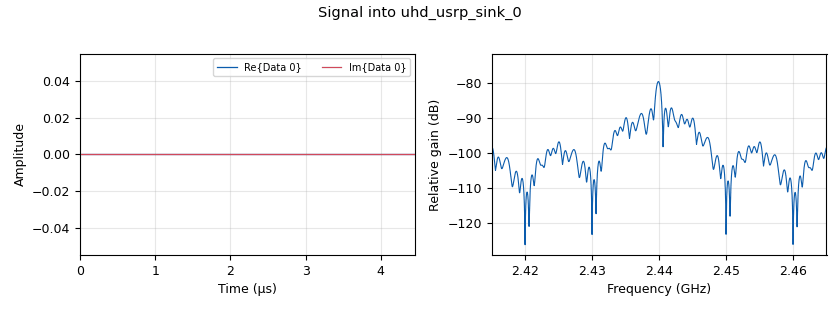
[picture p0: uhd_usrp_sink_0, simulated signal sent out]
options:
  parameters:
    author: Chris Wozny
    copyright: '2022'
    generate_options: qt_gui
    id: gr_pulsed_radar
    output_language: python
    title: Not titled yet
  states: {}

blocks:
- name: carrier_freq
  id: variable_qtgui_range
  parameters:
    start: 70e6
    step: 1e6
    stop: 6000e6
    value: 2440e6
  states: {}
- name: chip_width_samples
  id: variable
  parameters:
    value: (int)(chip_width_sec*samp_rate)
  states: {}
- name: chip_width_sec
  id: variable
  parameters:
    value: pw_sec/13
  states: {}
- name: pri_samples
  id: variable
  parameters:
    value: (int)(pri_sec*samp_rate)
  states: {}
- name: pri_sec
  id: variable
  parameters:
    value: '100e-6'
  states: {}
- name: pw_samples
  id: variable
  parameters:
    value: (int)(pw_sec*samp_rate)
  states: {}
- name: pw_sec
  id: variable
  parameters:
    value: '1.3e-6'
  states: {}
- name: rx_gain
  id: variable_qtgui_range
  parameters:
    start: '1'
    step: '1'
    stop: '70'
    value: '1'
  states: {}
- name: samp_rate
  id: variable
  parameters:
    value: 50e6
  states: {}
- name: tx_gain
  id: variable_qtgui_range
  parameters:
    start: '1'
    step: '1'
    stop: '70'
    value: '1'
  states: {}
- name: blocks_complex_to_magphase_0
  id: blocks_complex_to_magphase
  parameters: {}
  states: {state: disabled}
- name: blocks_complex_to_magphase_1
  id: blocks_complex_to_magphase
  parameters: {}
  states: {}
- name: blocks_float_to_complex_0
  id: blocks_float_to_complex
  parameters: {}
  states: {}
- name: blocks_null_sink_0
  id: blocks_null_sink
  parameters:
    type: float
  states: {}
- name: blocks_null_sink_1
  id: blocks_null_sink
  parameters:
    type: float
  states: {state: disabled}
- name: blocks_vector_source_x_1
  id: blocks_vector_source_x
  parameters:
    repeat: 'True'
    type: float
    vector: pw_samples*[1,]+pri_samples*[0,]
  states: {}
- name: blocks_vector_source_x_1_0
  id: blocks_vector_source_x
  parameters:
    repeat: 'True'
    type: float
    vector: 5*chip_width_samples*[1,]+2*chip_width_samples*[-1,]+2*chip_width_samples*[1,]+1*chip_width_samples*[-1,]+1*chip_width_samples*[1,]+1*chip_width_samples*[-1,]+1*chip_width_samples*[1,]+pri_samples*[0,]
  states: {}
- name: qtgui_freq_sink_x_0
  id: qtgui_freq_sink_x
  parameters:
    bw: samp_rate
    fc: carrier_freq
    fftsize: '1024'
    grid: 'True'
    type: complex
  states: {state: disabled}
- name: qtgui_time_sink_x_0
  id: qtgui_time_sink_x
  parameters:
    ctrlpanel: 'True'
    grid: 'True'
    nconnections: '2'
    size: '2000'
    srate: samp_rate
    tr_level: '0.5'
    tr_mode: qtgui.TRIG_MODE_AUTO
    type: float
    ymin: '0'
  states: {state: disabled}
- name: qtgui_time_sink_x_0_0
  id: qtgui_time_sink_x
  parameters:
    ctrlpanel: 'True'
    grid: 'True'
    size: int(pri_sec*samp_rate)
    srate: samp_rate
    tr_level: '0.5'
    tr_mode: qtgui.TRIG_MODE_AUTO
    type: float
    ymin: '0'
  states: {}
- name: uhd_usrp_sink_0
  id: uhd_usrp_sink
  parameters:
    ant0: '"TX/RX"'
    center_freq0: carrier_freq
    gain0: tx_gain
    otw: sc12
    samp_rate: samp_rate
    sync: sync
    type: fc32
  states: {}
- name: uhd_usrp_source_0
  id: uhd_usrp_source
  parameters:
    ant0: '"RX2"'
    center_freq0: carrier_freq
    gain0: rx_gain
    otw: sc12
    rx_agc0: Disabled
    samp_rate: samp_rate
    sync: sync
    type: fc32
  states: {}

connections:
- [blocks_complex_to_magphase_0, '0', qtgui_time_sink_x_0, '0']
- [blocks_complex_to_magphase_0, '1', blocks_null_sink_1, '0']
- [blocks_complex_to_magphase_1, '0', qtgui_time_sink_x_0, '1']
- [blocks_complex_to_magphase_1, '0', qtgui_time_sink_x_0_0, '0']
- [blocks_complex_to_magphase_1, '1', blocks_null_sink_0, '0']
- [blocks_float_to_complex_0, '0', blocks_complex_to_magphase_0, '0']
- [blocks_float_to_complex_0, '0', uhd_usrp_sink_0, '0']
- [blocks_vector_source_x_1, '0', blocks_float_to_complex_0, '0']
- [blocks_vector_source_x_1_0, '0', blocks_float_to_complex_0, '1']
- [uhd_usrp_source_0, '0', blocks_complex_to_magphase_1, '0']
- [uhd_usrp_source_0, '0', qtgui_freq_sink_x_0, '0']

metadata:
  file_format: 1
